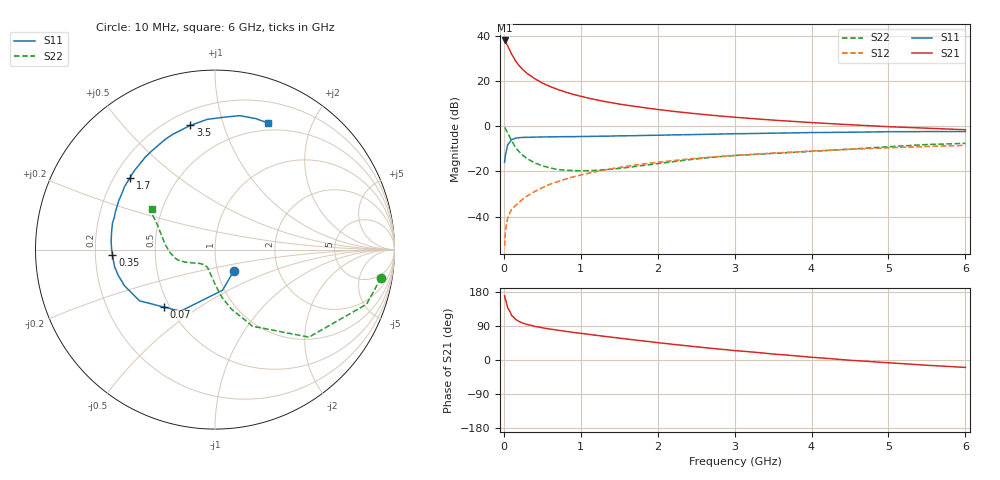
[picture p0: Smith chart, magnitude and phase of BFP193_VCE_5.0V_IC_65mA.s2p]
! (c) 2017  Infineon Technologies AG, Munich
! Infineon Technologies  Discrete & RF Semiconductors
! BFP193
! VCE =  5.0 V,  IC =  65 mA
! Common Emitter S-Parameters:  Jan 2017
# GHz  S  MA  R  50
!  f  S11  S21  S12  S22
! GHz  MAG  ANG  MAG  ANG  MAG  ANG  MAG  ANG
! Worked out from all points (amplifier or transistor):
!   77 points, 10 MHz to 6 GHz, reference 50 ohm
!   highest |S21| = 38.1 dB at 10 MHz (marker M1)
!   |S21| within 3 dB of that: start of sweep to 58.97 MHz
!   unconditionally stable (mu >= 1): 471.9 MHz to 2.34 GHz
!   at 130 MHz: K = 0.67, MSG = 33.1 dB, |S12| = -35.9 dB
!   at 2.2 GHz: K = 1.01, MAG = 10.4 dB, |S12| = -15.2 dB
!   at 6 GHz: K = 0.92, MSG = 3.5 dB, |S12| = -8.4 dB
!   S11 on the Smith chart (normalised r, x): 10 MHz: 1.19, -0.30; 70 MHz: 0.47, -0.37; 350 MHz: 0.27, -0.02; 1.7 GHz: 0.26, +0.34; 3.5 GHz: 0.28, +0.78; 6 GHz: 0.42, +1.42
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0.01  0.1592 -49.4  80.01 169.6  0.0022 88.3  0.9388 -9.6
0.02  0.2298 -79.4  77.68 160.1  0.0046 82.8  0.8975 -19.8
0.05  0.3938 -119.3  60.77 137.4  0.0092 65.5  0.7153 -43.0
0.07  0.4279 -131.5  51.75 131.3  0.0112 63.4  0.6106 -49.4
0.1  0.5081 -145.8  39.89 117.4  0.0142 61.3  0.4754 -63.9
0.15  0.5432 -158.3  28.54 107.5  0.0174 62.1  0.3447 -74.5
0.2  0.5585 -165.3  22.02 101.4  0.0206 64.0  0.2718 -81.4
0.25  0.5677 -170.4  17.84 97.0  0.0247 65.2  0.225 -85.8
0.3  0.5696 -174.3  14.97 93.9  0.0282 67.1  0.193 -89.8
0.35  0.572 -177.1  13.16 91.7  0.0319 68.8  0.1735 -92.7
0.4  0.5758 -179.8  11.37 88.9  0.0357 70.1  0.1546 -96.3
0.5  0.5803 175.7  9.122 85.1  0.0434 70.5  0.1333 -101.9
0.6  0.5829 171.9  7.649 81.7  0.052 70.2  0.1194 -107.1
0.8  0.5901 165.4  5.757 75.7  0.0675 70.1  0.1063 -114.9
1.1  0.5963 156.3  4.216 67.9  0.0911 67.1  0.1042 -126.1
1.7  0.6191 139.8  2.765 52.9  0.1377 60.3  0.1286 -143.4
2.1  0.6387 129.5  2.254 43.7  0.1661 55.1  0.1564 -152.5
3.1  0.6868 108.4  1.541 23.3  0.2308 42.3  0.2302 -169.4
3.5  0.7055 101.2  1.372 15.8  0.2545 37.7  0.251 -176.1
4.1  0.7285 91.9  1.183 5.8  0.2874 30.3  0.2845 172.0
5.1  0.7593 78.2  0.965 -8.6  0.3384 18.7  0.36 155.2
6  0.7647 67.1  0.839 -19.6  0.3784 8.5  0.4195 147.4
